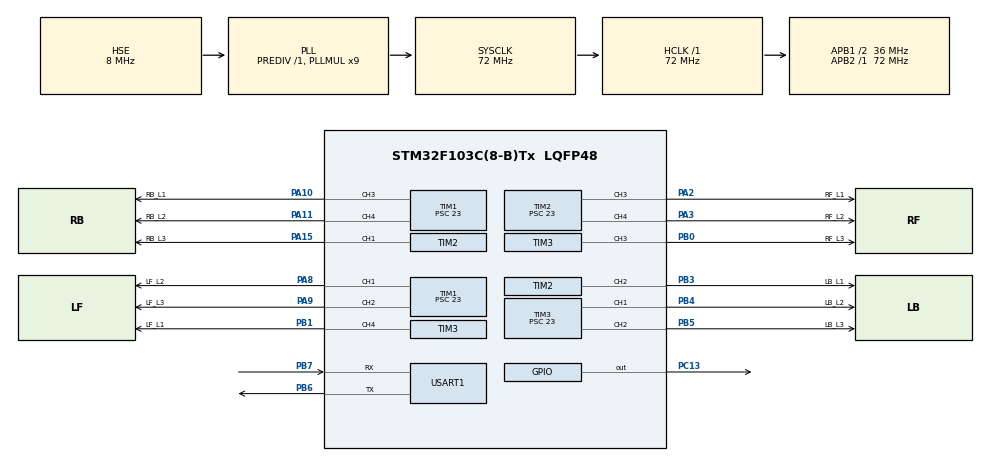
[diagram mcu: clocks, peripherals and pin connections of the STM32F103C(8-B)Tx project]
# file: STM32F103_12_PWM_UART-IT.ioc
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Mcu.Family=STM32F1
Mcu.Name=STM32F103C(8-B)Tx
Mcu.Package=LQFP48
NVIC.PriorityGroup=NVIC_PRIORITYGROUP_4
NVIC.USART1_IRQn=true\:0\:0\:false\:true\:true\:1\:true\:true
PA10.GPIO_Label=RB_L1
PA10.Signal=S_TIM1_CH3
PA11.GPIO_Label=RB_L2
PA11.Signal=S_TIM1_CH4
PA13.Mode=Serial_Wire
PA13.Signal=SYS_JTMS-SWDIO
PA14.Mode=Serial_Wire
PA14.Signal=SYS_JTCK-SWCLK
PA15.GPIO_Label=RB_L3
PA15.Signal=S_TIM2_CH1_ETR
PA2.GPIO_Label=RF_L1
PA2.Signal=S_TIM2_CH3
PA3.GPIO_Label=RF_L2
PA3.Signal=S_TIM2_CH4
PA8.GPIO_Label=LF_L2
PA8.Signal=S_TIM1_CH1
PA9.GPIO_Label=LF_L3
PA9.Signal=S_TIM1_CH2
PB0.GPIO_Label=RF_L3
PB0.Signal=S_TIM3_CH3
PB1.GPIO_Label=LF_L1
PB1.Signal=S_TIM3_CH4
PB3.GPIO_Label=LB_L1
PB3.Signal=S_TIM2_CH2
PB4.GPIO_Label=LB_L2
PB4.Signal=S_TIM3_CH1
PB5.GPIO_Label=LB_L3
PB5.Signal=S_TIM3_CH2
PB6.Mode=Asynchronous
PB6.Signal=USART1_TX
PB7.Mode=Asynchronous
PB7.Signal=USART1_RX
PC13-TAMPER-RTC.Signal=GPIO_Output
PD0-OSC_IN.Mode=HSE-External-Oscillator
PD0-OSC_IN.Signal=RCC_OSC_IN
PD1-OSC_OUT.Mode=HSE-External-Oscillator
PD1-OSC_OUT.Signal=RCC_OSC_OUT
ProjectManager.HeapSize=0x200
ProjectManager.StackSize=0x400
ProjectManager.TargetToolchain=STM32CubeIDE
RCC.AHBFreq_Value=72000000
RCC.APB1CLKDivider=RCC_HCLK_DIV2
RCC.APB1Freq_Value=36000000
RCC.APB1TimFreq_Value=72000000
RCC.APB2Freq_Value=72000000
RCC.APB2TimFreq_Value=72000000
RCC.HCLKFreq_Value=72000000
RCC.PLLMUL=RCC_PLL_MUL9
RCC.PLLSourceVirtual=RCC_PLLSOURCE_HSE
RCC.SYSCLKFreq_VALUE=72000000
RCC.SYSCLKSource=RCC_SYSCLKSOURCE_PLLCLK
RCC.USBFreq_Value=72000000
SH.S_TIM1_CH1.0=TIM1_CH1,PWM Generation1 CH1
SH.S_TIM1_CH2.0=TIM1_CH2,PWM Generation2 CH2
SH.S_TIM1_CH3.0=TIM1_CH3,PWM Generation3 CH3
SH.S_TIM1_CH4.0=TIM1_CH4,PWM Generation4 CH4
SH.S_TIM2_CH1_ETR.0=TIM2_CH1,PWM Generation1 CH1
SH.S_TIM2_CH2.0=TIM2_CH2,PWM Generation2 CH2
SH.S_TIM2_CH3.0=TIM2_CH3,PWM Generation3 CH3
SH.S_TIM2_CH4.0=TIM2_CH4,PWM Generation4 CH4
SH.S_TIM3_CH1.0=TIM3_CH1,PWM Generation1 CH1
SH.S_TIM3_CH2.0=TIM3_CH2,PWM Generation2 CH2
SH.S_TIM3_CH3.0=TIM3_CH3,PWM Generation3 CH3
SH.S_TIM3_CH4.0=TIM3_CH4,PWM Generation4 CH4
TIM1.Channel-PWM\ Generation1\ CH1=TIM_CHANNEL_1
TIM1.Channel-PWM\ Generation2\ CH2=TIM_CHANNEL_2
TIM1.Channel-PWM\ Generation3\ CH3=TIM_CHANNEL_3
TIM1.Channel-PWM\ Generation4\ CH4=TIM_CHANNEL_4
TIM1.Period=59999
TIM1.Prescaler=23
TIM2.Channel-PWM\ Generation1\ CH1=TIM_CHANNEL_1
TIM2.Channel-PWM\ Generation2\ CH2=TIM_CHANNEL_2
TIM2.Channel-PWM\ Generation3\ CH3=TIM_CHANNEL_3
TIM2.Channel-PWM\ Generation4\ CH4=TIM_CHANNEL_4
TIM2.Period=59999
TIM2.Prescaler=23
TIM3.Channel-PWM\ Generation1\ CH1=TIM_CHANNEL_1
TIM3.Channel-PWM\ Generation2\ CH2=TIM_CHANNEL_2
TIM3.Channel-PWM\ Generation3\ CH3=TIM_CHANNEL_3
TIM3.Channel-PWM\ Generation4\ CH4=TIM_CHANNEL_4
TIM3.Period=59999
TIM3.Prescaler=23
USART1.VirtualMode=VM_ASYNC
VP_TIM1_VS_ClockSourceINT.Mode=Internal
VP_TIM2_VS_ClockSourceINT.Mode=Internal
VP_TIM3_VS_ClockSourceINT.Mode=Internal
board=custom

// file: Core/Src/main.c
/* USER CODE BEGIN Header */
/**
  ******************************************************************************
  * @file           : main.c
  * @brief          : Main program body
  ******************************************************************************
  * @attention
  *
  * <h2><center>&copy; Copyright (c) 2021 STMicroelectronics.
  * All rights reserved.</center></h2>
  *
  * This software component is licensed by ST under BSD 3-Clause license,
  * the "License"; You may not use this file except in compliance with the
  * License. You may obtain a copy of the License at:
  *                        opensource.org/licenses/BSD-3-Clause
  *
  ******************************************************************************
  */
/* USER CODE END Header */

#include "main.h"

/* USER CODE BEGIN Includes */
#include "stdio.h"
#include "string.h"
#include "stdlib.h"
#include "stdbool.h"
#include "stddef.h"
/* USER CODE END Includes */

TIM_HandleTypeDef htim1;
TIM_HandleTypeDef htim2;
TIM_HandleTypeDef htim3;

UART_HandleTypeDef huart1;

void SystemClock_Config(void);
static void MX_GPIO_Init(void);
static void MX_TIM1_Init(void);
static void MX_TIM2_Init(void);
static void MX_TIM3_Init(void);
static void MX_USART1_UART_Init(void);
static void MX_NVIC_Init(void);

/* USER CODE BEGIN 0 */
int length;
const char write = 'w';           //MOTOR TRANSMISION
const char read = 'r';            //MOTOR OFSET
const char startMarker = '<';     // START TRANSMISION
const char endMarker = '>';       // STOP TRANSMISION
const char spaceMarker = '#';     // BRACE TRANSMISION
int empty_veriable;
int pulse[12]={};
int ofset_pulse[12]={};
//servo_limited[0][i]=servo_min_PWM 	servo_limited[1][i]=servo_max_PWM
int servo_limited[2][12]={{3000,500,3000,3000,500,3000,3000,500,3000,3000,500,3000},{6000,7000,6000,6000,7000,6000,6000,7000,6000,6000,7000,6000}};
//int battery_voltage, forceFR,forceFL,forceBR,forceBL;

//PWM 1500-->0*   7500-->180*

void Servo_go(int servo,int pwm);
int receive_data_division(char *str);
void data_transmit(char *str);

char rxTemBuf[100];
char rxBuffer[100];
int rxIndex = 0;
int rx__data = 0;
/*
static char* Uart_start_command = "<r# Uart Basladi>\t\n";
static char* Uart_continue_command = "<r#Sistem Yukleniyor...>\t\n";
*/
//static char* Uart_end_command = "<r#Sistem Yuklemesi Bitti...>\t\n";

/* USER CODE END 0 */

int main(void)
{

  /* MCU Configuration--------------------------------------------------------*/

  /* Reset of all peripherals, Initializes the Flash interface and the Systick. */
  HAL_Init();

  /* Configure the system clock */
  SystemClock_Config();

  /* Initialize all configured peripherals */
  MX_GPIO_Init();
  MX_TIM1_Init();
  MX_TIM2_Init();
  MX_TIM3_Init();
  MX_USART1_UART_Init();

  /* Initialize interrupts */
  MX_NVIC_Init();
  /* USER CODE BEGIN 2 */
  HAL_TIM_PWM_Start(&htim2,TIM_CHANNEL_3);
  HAL_TIM_PWM_Start(&htim2,TIM_CHANNEL_4);
  HAL_TIM_PWM_Start(&htim3,TIM_CHANNEL_3);

//   Left Front Tabia , Femur  , Coxa
  HAL_TIM_PWM_Start(&htim3,TIM_CHANNEL_4);
  HAL_TIM_PWM_Start(&htim1,TIM_CHANNEL_1);
  HAL_TIM_PWM_Start(&htim1,TIM_CHANNEL_2);

//   Right Back Tabia , Femur  , Coxa
  HAL_TIM_PWM_Start(&htim1,TIM_CHANNEL_3);
  HAL_TIM_PWM_Start(&htim1,TIM_CHANNEL_4);
  HAL_TIM_PWM_Start(&htim2,TIM_CHANNEL_1);

//   Left Back Tabia , Femur  , Coxa
  HAL_TIM_PWM_Start(&htim2,TIM_CHANNEL_2);
  HAL_TIM_PWM_Start(&htim3,TIM_CHANNEL_1);
  HAL_TIM_PWM_Start(&htim3,TIM_CHANNEL_2);

  for(int i=0 ; i<10;i++)
  {
	  HAL_GPIO_TogglePin(GPIOC,GPIO_PIN_13);
	  HAL_Delay(100);
  }

 /*-----UART BA�?LADI MESAJI İLE STM'İN HABERLE�?ME PROTOKOLÜNÜN BA�?LADI�?ININ BİLGİSİ.----*/

/*
  while(HAL_UART_GetState(&huart1)!= HAL_UART_STATE_READY);
  if(HAL_UART_Transmit_IT(&huart1, (uint8_t *)Uart_start_command, strlen(Uart_start_command))!=HAL_OK)
  {
	  Error_Handler();
  }
  while(HAL_UART_GetState(&huart1)!= HAL_UART_STATE_READY);
  if(HAL_UART_Transmit_IT(&huart1, (uint8_t *)Uart_continue_command, strlen(Uart_continue_command))!=HAL_OK)
  {
	  Error_Handler();
  }

*/
  while(HAL_UART_GetState(&huart1)!= HAL_UART_STATE_READY);
  if(HAL_UART_Receive_IT(&huart1,(uint8_t *)rxTemBuf, 100)!=HAL_OK)
  {
	  Error_Handler();
  }

  /* USER CODE END 2 */

  /* Infinite loop */
  while (1)
  {

    /* USER CODE BEGIN 3 */
	  /*
	  __HAL_TIM_SET_COMPARE(&htim1,TIM_CHANNEL_1,4500);
	  __HAL_TIM_SET_COMPARE(&htim1,TIM_CHANNEL_2,4500);
	  __HAL_TIM_SET_COMPARE(&htim1,TIM_CHANNEL_3,4500);
	  __HAL_TIM_SET_COMPARE(&htim1,TIM_CHANNEL_4,4500);
	  __HAL_TIM_SET_COMPARE(&htim2,TIM_CHANNEL_1,4500);
	  __HAL_TIM_SET_COMPARE(&htim2,TIM_CHANNEL_2,4500);
	  __HAL_TIM_SET_COMPARE(&htim2,TIM_CHANNEL_3,4500);
	  __HAL_TIM_SET_COMPARE(&htim2,TIM_CHANNEL_4,4500);
	  __HAL_TIM_SET_COMPARE(&htim3,TIM_CHANNEL_1,4500);
	  __HAL_TIM_SET_COMPARE(&htim3,TIM_CHANNEL_2,4500);
	  __HAL_TIM_SET_COMPARE(&htim3,TIM_CHANNEL_3,4500);
	  __HAL_TIM_SET_COMPARE(&htim3,TIM_CHANNEL_4,4500);
	  HAL_Delay(100);
	  */
  }
  /* USER CODE END 3 */
}

void SystemClock_Config(void)
{
  RCC_OscInitTypeDef RCC_OscInitStruct = {0};
  RCC_ClkInitTypeDef RCC_ClkInitStruct = {0};

  /** Initializes the CPU, AHB and APB busses clocks
  */
  RCC_OscInitStruct.OscillatorType = RCC_OSCILLATORTYPE_HSE;
  RCC_OscInitStruct.HSEState = RCC_HSE_ON;
  RCC_OscInitStruct.HSEPredivValue = RCC_HSE_PREDIV_DIV1;
  RCC_OscInitStruct.HSIState = RCC_HSI_ON;
  RCC_OscInitStruct.PLL.PLLState = RCC_PLL_ON;
  RCC_OscInitStruct.PLL.PLLSource = RCC_PLLSOURCE_HSE;
  RCC_OscInitStruct.PLL.PLLMUL = RCC_PLL_MUL9;
  if (HAL_RCC_OscConfig(&RCC_OscInitStruct) != HAL_OK)
  {
    Error_Handler();
  }
  /** Initializes the CPU, AHB and APB busses clocks
  */
  RCC_ClkInitStruct.ClockType = RCC_CLOCKTYPE_HCLK|RCC_CLOCKTYPE_SYSCLK
                              |RCC_CLOCKTYPE_PCLK1|RCC_CLOCKTYPE_PCLK2;
  RCC_ClkInitStruct.SYSCLKSource = RCC_SYSCLKSOURCE_PLLCLK;
  RCC_ClkInitStruct.AHBCLKDivider = RCC_SYSCLK_DIV1;
  RCC_ClkInitStruct.APB1CLKDivider = RCC_HCLK_DIV2;
  RCC_ClkInitStruct.APB2CLKDivider = RCC_HCLK_DIV1;

  if (HAL_RCC_ClockConfig(&RCC_ClkInitStruct, FLASH_LATENCY_2) != HAL_OK)
  {
    Error_Handler();
  }
}

/**
  * @brief NVIC Configuration.
  * @retval None
  */
static void MX_NVIC_Init(void)
{
  /* USART1_IRQn interrupt configuration */
  HAL_NVIC_SetPriority(USART1_IRQn, 0, 0);
  HAL_NVIC_EnableIRQ(USART1_IRQn);
}

static void MX_TIM1_Init(void)
{

  TIM_ClockConfigTypeDef sClockSourceConfig = {0};
  TIM_MasterConfigTypeDef sMasterConfig = {0};
  TIM_OC_InitTypeDef sConfigOC = {0};
  TIM_BreakDeadTimeConfigTypeDef sBreakDeadTimeConfig = {0};

  htim1.Instance = TIM1;
  htim1.Init.Prescaler = 23;
  htim1.Init.CounterMode = TIM_COUNTERMODE_UP;
  htim1.Init.Period = 59999;
  htim1.Init.ClockDivision = TIM_CLOCKDIVISION_DIV1;
  htim1.Init.RepetitionCounter = 0;
  htim1.Init.AutoReloadPreload = TIM_AUTORELOAD_PRELOAD_DISABLE;
  if (HAL_TIM_Base_Init(&htim1) != HAL_OK)
  {
    Error_Handler();
  }
  sClockSourceConfig.ClockSource = TIM_CLOCKSOURCE_INTERNAL;
  if (HAL_TIM_ConfigClockSource(&htim1, &sClockSourceConfig) != HAL_OK)
  {
    Error_Handler();
  }
  if (HAL_TIM_PWM_Init(&htim1) != HAL_OK)
  {
    Error_Handler();
  }
  sMasterConfig.MasterOutputTrigger = TIM_TRGO_RESET;
  sMasterConfig.MasterSlaveMode = TIM_MASTERSLAVEMODE_DISABLE;
  if (HAL_TIMEx_MasterConfigSynchronization(&htim1, &sMasterConfig) != HAL_OK)
  {
    Error_Handler();
  }
  sConfigOC.OCMode = TIM_OCMODE_PWM1;
  sConfigOC.Pulse = 0;
  sConfigOC.OCPolarity = TIM_OCPOLARITY_HIGH;
  sConfigOC.OCNPolarity = TIM_OCNPOLARITY_HIGH;
  sConfigOC.OCFastMode = TIM_OCFAST_DISABLE;
  sConfigOC.OCIdleState = TIM_OCIDLESTATE_RESET;
  sConfigOC.OCNIdleState = TIM_OCNIDLESTATE_RESET;
  if (HAL_TIM_PWM_ConfigChannel(&htim1, &sConfigOC, TIM_CHANNEL_1) != HAL_OK)
  {
    Error_Handler();
  }
  if (HAL_TIM_PWM_ConfigChannel(&htim1, &sConfigOC, TIM_CHANNEL_2) != HAL_OK)
  {
    Error_Handler();
  }
  if (HAL_TIM_PWM_ConfigChannel(&htim1, &sConfigOC, TIM_CHANNEL_3) != HAL_OK)
  {
    Error_Handler();
  }
  if (HAL_TIM_PWM_ConfigChannel(&htim1, &sConfigOC, TIM_CHANNEL_4) != HAL_OK)
  {
    Error_Handler();
  }
  sBreakDeadTimeConfig.OffStateRunMode = TIM_OSSR_DISABLE;
  sBreakDeadTimeConfig.OffStateIDLEMode = TIM_OSSI_DISABLE;
  sBreakDeadTimeConfig.LockLevel = TIM_LOCKLEVEL_OFF;
  sBreakDeadTimeConfig.DeadTime = 0;
  sBreakDeadTimeConfig.BreakState = TIM_BREAK_DISABLE;
  sBreakDeadTimeConfig.BreakPolarity = TIM_BREAKPOLARITY_HIGH;
  sBreakDeadTimeConfig.AutomaticOutput = TIM_AUTOMATICOUTPUT_DISABLE;
  if (HAL_TIMEx_ConfigBreakDeadTime(&htim1, &sBreakDeadTimeConfig) != HAL_OK)
  {
    Error_Handler();
  }
  HAL_TIM_MspPostInit(&htim1);

}

static void MX_TIM2_Init(void)
{

  TIM_ClockConfigTypeDef sClockSourceConfig = {0};
  TIM_MasterConfigTypeDef sMasterConfig = {0};
  TIM_OC_InitTypeDef sConfigOC = {0};

  htim2.Instance = TIM2;
  htim2.Init.Prescaler = 23;
  htim2.Init.CounterMode = TIM_COUNTERMODE_UP;
  htim2.Init.Period = 59999;
  htim2.Init.ClockDivision = TIM_CLOCKDIVISION_DIV1;
  htim2.Init.AutoReloadPreload = TIM_AUTORELOAD_PRELOAD_DISABLE;
  if (HAL_TIM_Base_Init(&htim2) != HAL_OK)
  {
    Error_Handler();
  }
  sClockSourceConfig.ClockSource = TIM_CLOCKSOURCE_INTERNAL;
  if (HAL_TIM_ConfigClockSource(&htim2, &sClockSourceConfig) != HAL_OK)
  {
    Error_Handler();
  }
  if (HAL_TIM_PWM_Init(&htim2) != HAL_OK)
  {
    Error_Handler();
  }
  sMasterConfig.MasterOutputTrigger = TIM_TRGO_RESET;
  sMasterConfig.MasterSlaveMode = TIM_MASTERSLAVEMODE_DISABLE;
  if (HAL_TIMEx_MasterConfigSynchronization(&htim2, &sMasterConfig) != HAL_OK)
  {
    Error_Handler();
  }
  sConfigOC.OCMode = TIM_OCMODE_PWM1;
  sConfigOC.Pulse = 0;
  sConfigOC.OCPolarity = TIM_OCPOLARITY_HIGH;
  sConfigOC.OCFastMode = TIM_OCFAST_DISABLE;
  if (HAL_TIM_PWM_ConfigChannel(&htim2, &sConfigOC, TIM_CHANNEL_1) != HAL_OK)
  {
    Error_Handler();
  }
  if (HAL_TIM_PWM_ConfigChannel(&htim2, &sConfigOC, TIM_CHANNEL_2) != HAL_OK)
  {
    Error_Handler();
  }
  if (HAL_TIM_PWM_ConfigChannel(&htim2, &sConfigOC, TIM_CHANNEL_3) != HAL_OK)
  {
    Error_Handler();
  }
  if (HAL_TIM_PWM_ConfigChannel(&htim2, &sConfigOC, TIM_CHANNEL_4) != HAL_OK)
  {
    Error_Handler();
  }
  HAL_TIM_MspPostInit(&htim2);

}

static void MX_TIM3_Init(void)
{

  TIM_ClockConfigTypeDef sClockSourceConfig = {0};
  TIM_MasterConfigTypeDef sMasterConfig = {0};
  TIM_OC_InitTypeDef sConfigOC = {0};

  htim3.Instance = TIM3;
  htim3.Init.Prescaler = 23;
  htim3.Init.CounterMode = TIM_COUNTERMODE_UP;
  htim3.Init.Period = 59999;
  htim3.Init.ClockDivision = TIM_CLOCKDIVISION_DIV1;
  htim3.Init.AutoReloadPreload = TIM_AUTORELOAD_PRELOAD_DISABLE;
  if (HAL_TIM_Base_Init(&htim3) != HAL_OK)
  {
    Error_Handler();
  }
  sClockSourceConfig.ClockSource = TIM_CLOCKSOURCE_INTERNAL;
  if (HAL_TIM_ConfigClockSource(&htim3, &sClockSourceConfig) != HAL_OK)
  {
    Error_Handler();
  }
  if (HAL_TIM_PWM_Init(&htim3) != HAL_OK)
  {
    Error_Handler();
  }
  sMasterConfig.MasterOutputTrigger = TIM_TRGO_RESET;
  sMasterConfig.MasterSlaveMode = TIM_MASTERSLAVEMODE_DISABLE;
  if (HAL_TIMEx_MasterConfigSynchronization(&htim3, &sMasterConfig) != HAL_OK)
  {
    Error_Handler();
  }
  sConfigOC.OCMode = TIM_OCMODE_PWM1;
  sConfigOC.Pulse = 0;
  sConfigOC.OCPolarity = TIM_OCPOLARITY_HIGH;
  sConfigOC.OCFastMode = TIM_OCFAST_DISABLE;
  if (HAL_TIM_PWM_ConfigChannel(&htim3, &sConfigOC, TIM_CHANNEL_1) != HAL_OK)
  {
    Error_Handler();
  }
  if (HAL_TIM_PWM_ConfigChannel(&htim3, &sConfigOC, TIM_CHANNEL_2) != HAL_OK)
  {
    Error_Handler();
  }
  if (HAL_TIM_PWM_ConfigChannel(&htim3, &sConfigOC, TIM_CHANNEL_3) != HAL_OK)
  {
    Error_Handler();
  }
  if (HAL_TIM_PWM_ConfigChannel(&htim3, &sConfigOC, TIM_CHANNEL_4) != HAL_OK)
  {
    Error_Handler();
  }
  HAL_TIM_MspPostInit(&htim3);

}

static void MX_USART1_UART_Init(void)
{

  huart1.Instance = USART1;
  huart1.Init.BaudRate = 115200;
  huart1.Init.WordLength = UART_WORDLENGTH_8B;
  huart1.Init.StopBits = UART_STOPBITS_1;
  huart1.Init.Parity = UART_PARITY_NONE;
  huart1.Init.Mode = UART_MODE_TX_RX;
  huart1.Init.HwFlowCtl = UART_HWCONTROL_NONE;
  huart1.Init.OverSampling = UART_OVERSAMPLING_16;
  if (HAL_UART_Init(&huart1) != HAL_OK)
  {
    Error_Handler();
  }

}

static void MX_GPIO_Init(void)
{
  GPIO_InitTypeDef GPIO_InitStruct = {0};

  /* GPIO Ports Clock Enable */
  __HAL_RCC_GPIOC_CLK_ENABLE();
  __HAL_RCC_GPIOD_CLK_ENABLE();
  __HAL_RCC_GPIOA_CLK_ENABLE();
  __HAL_RCC_GPIOB_CLK_ENABLE();

  /*Configure GPIO pin Output Level */
  HAL_GPIO_WritePin(GPIOC, GPIO_PIN_13, GPIO_PIN_RESET);

  /*Configure GPIO pin : PC13 */
  GPIO_InitStruct.Pin = GPIO_PIN_13;
  GPIO_InitStruct.Mode = GPIO_MODE_OUTPUT_PP;
  GPIO_InitStruct.Pull = GPIO_NOPULL;
  GPIO_InitStruct.Speed = GPIO_SPEED_FREQ_LOW;
  HAL_GPIO_Init(GPIOC, &GPIO_InitStruct);

}

/* USER CODE BEGIN 4 */
void HAL_UART_RxCpltCallback(UART_HandleTypeDef *huart)
{
	HAL_GPIO_TogglePin(GPIOC,GPIO_PIN_13);
	if(rxTemBuf[0] == '<')
		{
			if(rxTemBuf[strlen((char *)rxTemBuf)-1]=='>')
				{
					rx__data = receive_data_division(rxTemBuf);

//					if(rx_data) HAL_UART_Transmit_IT(&huart1, (uint8_t *)"Data Received...", strlen("Data Received..."));
				}
		}
	HAL_UART_Receive_IT(&huart1,(uint8_t *)rxTemBuf, 100);
}

void data_transmit(char *str)
{
	HAL_UART_Transmit_IT(&huart1,(uint8_t *)str, strlen(str));
}

int receive_data_division(char *str)
{
	/*
	 * DATA EXAMPLE...
	 *
	 *char str[]="<r#4500#4500#4500#4500#4500#4500#4500#4500#4500#4500#4500#4500>";
	*/
    char *ptr;
    if(str[0] == startMarker && str[strlen(str)-1]==endMarker)
    {
        if(str[1]==write)
        {
/*            printf("MOTOR KOMUT İ�?LEMİ\n");				*/
            int i=0;
            ptr = strtok(str,&spaceMarker);
            empty_veriable =atoi(ptr);
            while(1)
            {
            ptr = strtok(NULL,&spaceMarker);
            if(ptr==NULL) return 0;
            pulse[i]=atoi(ptr);
            if(i==11)
            {
            	ptr = strtok(NULL,&spaceMarker);
            	break;
            }
            i++;
            }
            for(int i=0;i<12;i++)
            {
            	Servo_go(i,pulse[i]);
            }
            return 1;
        }
    }

    return 0;
}

void Servo_go(int servo,int pwm)
{
	int servo_go_pwm;
	if(servo_limited[0][servo]<pwm && servo_limited[1][servo]>pwm)
		{
			servo_go_pwm = pwm;
		}
	else
		{
			if(servo_limited[0][servo]>pwm)	servo_go_pwm=servo_limited[0][servo];				// servo_min > pwm  --> servo go to servo_min
			else if(servo_limited[1][servo]<pwm)	servo_go_pwm=servo_limited[1][servo];		//servo_max < pwm  --> servo go to servo_max
		}
	switch (servo)
	{
	 case 0:
		 __HAL_TIM_SET_COMPARE(&htim2,TIM_CHANNEL_3,servo_go_pwm);	//RF Tabia
	  break;
	 case 1:
		 __HAL_TIM_SET_COMPARE(&htim2,TIM_CHANNEL_4,servo_go_pwm);	//RF Femur
	  break;
	 case 2:
		 __HAL_TIM_SET_COMPARE(&htim3,TIM_CHANNEL_3,servo_go_pwm);	//RF Coxa
	  break;
	 case 3:
		 __HAL_TIM_SET_COMPARE(&htim3,TIM_CHANNEL_4,servo_go_pwm);	//LF Tabia
	  break;
	 case 4:
		 __HAL_TIM_SET_COMPARE(&htim1,TIM_CHANNEL_1,servo_go_pwm);	//LF Femur
	  break;
	 case 5:
		 __HAL_TIM_SET_COMPARE(&htim1,TIM_CHANNEL_2,servo_go_pwm);	//LF Coxa
	  break;
	 case 6:
		 __HAL_TIM_SET_COMPARE(&htim1,TIM_CHANNEL_3,servo_go_pwm);	//RB Tabia
	  break;
	 case 7:
		 __HAL_TIM_SET_COMPARE(&htim1,TIM_CHANNEL_4,servo_go_pwm);	//RB Femur
	  break;
	 case 8:
		 __HAL_TIM_SET_COMPARE(&htim2,TIM_CHANNEL_1,servo_go_pwm);	//RB Coxa
	  break;
	 case 9:
		 __HAL_TIM_SET_COMPARE(&htim2,TIM_CHANNEL_2,servo_go_pwm);	//LB Tabia
	  break;
	 case 10:
		 __HAL_TIM_SET_COMPARE(&htim3,TIM_CHANNEL_1,servo_go_pwm);	//LB Femur
	  break;
	 case 11:
		 __HAL_TIM_SET_COMPARE(&htim3,TIM_CHANNEL_2,servo_go_pwm);	//LB Coxa
	  break;
	}
}
/* USER CODE END 4 */

void Error_Handler(void)
{
}

/************************ (C) COPYRIGHT STMicroelectronics *****END OF FILE****/
